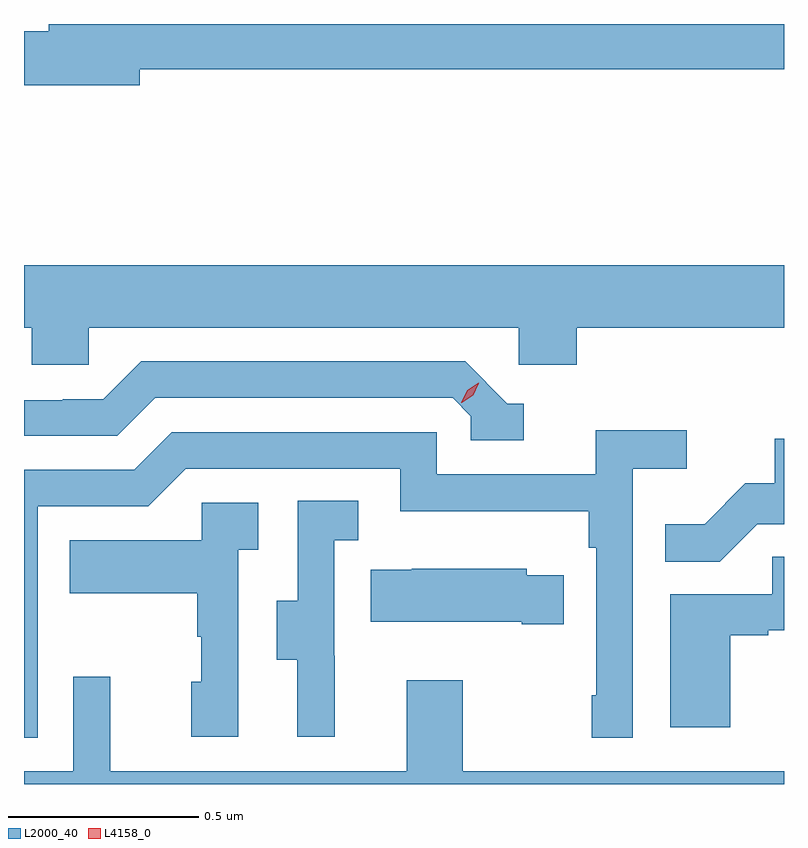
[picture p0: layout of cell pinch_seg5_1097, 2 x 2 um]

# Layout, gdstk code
import gdstk
lib = gdstk.Library(unit=1e-6, precision=1e-09)
def P(c, l, *ps):  # polygons
    for p in ps: c.add(gdstk.Polygon(p, *l))
L2000_40 = (2000, 40)
L4158_0 = (4158, 0)

pinch_seg5_1097 = lib.new_cell('pinch_seg5_1097')
P(pinch_seg5_1097, L2000_40, [(854.812,874.756),(856.508,874.756),(856.508,874.875),(854.573,874.875),(854.573,874.856),(854.508,874.856),(854.508,874.714),(854.812,874.714)],
  [(854.679,874.076),(855.81,874.076),(855.81,873.978),(855.962,873.978),(855.962,874.076),(856.508,874.076),(856.508,874.24),(854.508,874.24),(854.508,874.076),(854.529,874.076),(854.529,873.978),(854.679,873.978)],
  [(855.823,873.876),(855.78,873.876),(855.669,873.987),(854.816,873.987),(854.717,873.888),(854.61,873.888),(854.61,873.885),(854.508,873.885),(854.508,873.792),(854.754,873.792),(854.853,873.891),(855.636,873.891),(855.684,873.843),(855.684,873.78),(855.823,873.78)],
  [(854.544,873.606),(854.835,873.606),(854.934,873.705),(855.498,873.705),(855.498,873.593),(855.994,873.593),(855.994,873.497),(856.014,873.497),(856.014,873.109),(856.002,873.109),(856.002,872.997),(856.11,872.997),(856.11,873.704),(856.252,873.704),(856.252,873.806),(856.013,873.806),(856.013,873.69),(855.594,873.69),(855.594,873.801),(854.897,873.801),(854.798,873.702),(854.508,873.702),(854.508,872.997),(854.544,872.997)],
  [(856.437,873.558),(856.508,873.558),(856.508,873.783),(856.483,873.783),(856.483,873.666),(856.406,873.666),(856.299,873.559),(856.195,873.559),(856.195,873.46),(856.339,873.46)],
  [(855.326,873.213),(855.324,873.213),(855.324,873.517),(855.388,873.517),(855.388,873.62),(855.228,873.62),(855.228,873.357),(855.173,873.357),(855.173,873.202),(855.227,873.202),(855.227,873),(855.326,873)],
  [(855.072,873.491),(855.124,873.491),(855.124,873.615),(854.976,873.615),(854.976,873.517),(854.629,873.517),(854.629,873.377),(854.964,873.377),(854.964,873.263),(854.974,873.263),(854.974,873.144),(854.948,873.144),(854.948,873),(855.072,873)],
  [(856.366,873.267),(856.466,873.267),(856.466,873.279),(856.508,873.279),(856.508,873.473),(856.477,873.473),(856.477,873.375),(856.208,873.375),(856.208,873.024),(856.366,873.024)],
  [(855.929,873.424),(855.831,873.424),(855.831,873.442),(855.529,873.442),(855.529,873.439),(855.421,873.439),(855.421,873.302),(855.818,873.302),(855.818,873.295),(855.929,873.295)],
  [(856.508,872.908),(855.663,872.908),(855.663,873.148),(855.515,873.148),(855.515,872.908),(854.735,872.908),(854.735,873.157),(854.637,873.157),(854.637,872.908),(854.508,872.908),(854.508,872.875),(856.508,872.875)])
P(pinch_seg5_1097, L4158_0, [(855.659,873.878),(855.659,873.878),(855.675,873.911),(855.705,873.931),(855.705,873.931),(855.705,873.93),(855.69,873.898),(855.66,873.878)])

lib.write_gds('pinch_seg5_1097.gds')
